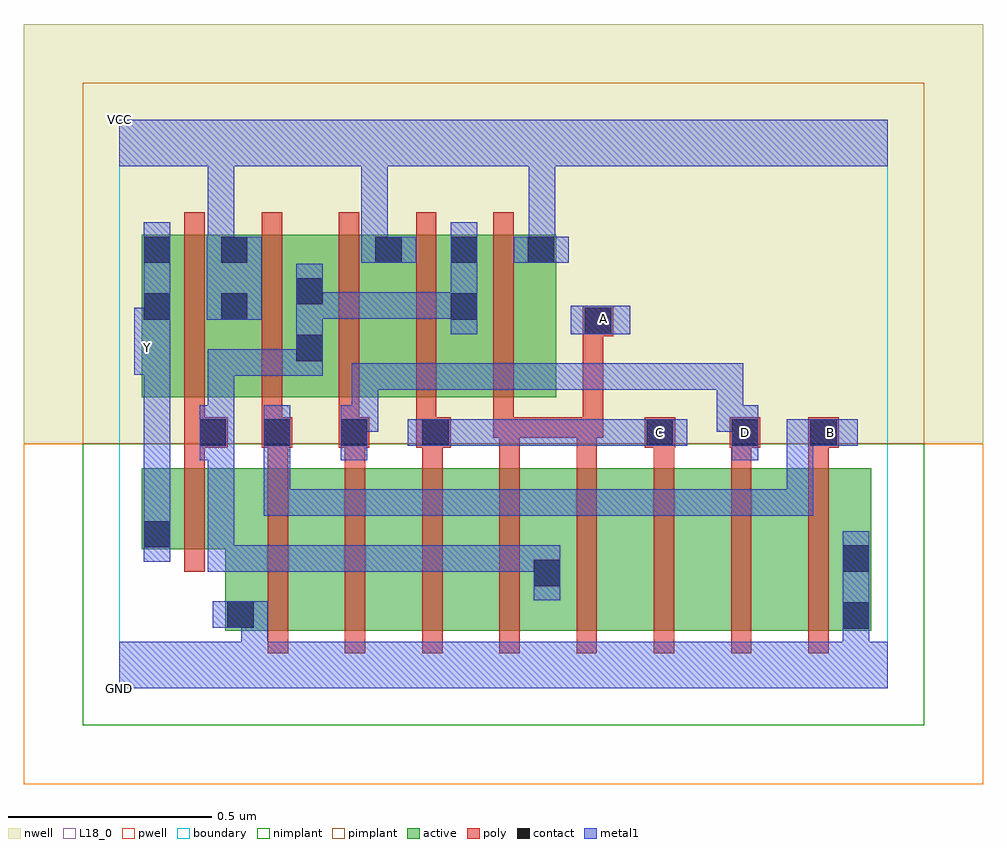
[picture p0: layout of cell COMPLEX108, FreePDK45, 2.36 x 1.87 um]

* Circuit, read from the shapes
.subckt COMPLEX108 A B C D GND VCC Y
M1 GND n1 Y VSUBS nfet w=0.2u l=0.05u
M2 n2 B GND VSUBS nfet w=0.4u l=0.05u
M3 n3 D n2 VSUBS nfet w=0.4u l=0.05u
M4 n4 C n3 VSUBS nfet w=0.4u l=0.05u
M5 n1 A n4 VSUBS nfet w=0.4u l=0.05u
M6 n5 A n1 VSUBS nfet w=0.4u l=0.05u
M7 n6 C n5 VSUBS nfet w=0.4u l=0.05u
M8 n7 D n6 VSUBS nfet w=0.4u l=0.05u
M9 GND B n7 VSUBS nfet w=0.4u l=0.05u
M10 VCC n1 Y n8 pfet w=0.4u l=0.05u
M11 n1 B VCC n8 pfet w=0.4u l=0.05u
M12 VCC D n1 n8 pfet w=0.4u l=0.05u
M13 n1 C VCC n8 pfet w=0.4u l=0.05u
M14 VCC A n1 n8 pfet w=0.4u l=0.05u
.ends

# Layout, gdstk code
import gdstk
lib = gdstk.Library(unit=1e-6, precision=1e-09)
def R(c, l, rs):  # rectangles x0, y0, x1, y1
    for r in rs: c.add(gdstk.rectangle(r[:2], r[2:], *l))
def A(c, l, x, y, w, h, nx, ny, dx, dy):  # array of equal rectangles
    R(c, l, [(x+i*dx, y+j*dy, x+i*dx+w, y+j*dy+h) for i in range(nx) for j in range(ny)])
active = (1, 0)
pwell = (2, 0)
nwell = (3, 0)
nimplant = (4, 0)
pimplant = (5, 0)
poly = (9, 0)
contact = (10, 0)
metal1 = (11, 0)
L18_0 = (18, 0)
boundary = (235, 0)

complex108 = lib.new_cell('COMPLEX108')
R(complex108, active, [(0.26,0.142,0.485,0.542), (0.26,0.142,0.335,0.342), (0.485,0.142,0.675,0.542), (0.675,0.142,0.865,0.542), (0.865,0.142,1.09,0.542), (1.015,0.142,1.245,0.542), (1.245,0.142,1.435,0.542), (1.435,0.142,1.625,0.542), (1.625,0.142,1.85,0.542), (1.775,0.142,1.85,0.542), (1.015,0.147,1.09,0.492), (0.055,0.342,0.13,0.542), (0.055,0.342,0.335,0.542), (0.055,0.717,0.13,1.117), (0.055,0.717,0.32,1.117), (0.245,0.717,0.505,1.117), (0.43,0.717,0.7,1.117), (0.43,0.717,0.505,1.067), (0.625,0.717,0.885,1.117), (0.81,0.717,1.075,1.117), (1,0.72,1.075,1.117), (0.245,0.802,0.32,1.117), (0.81,0.802,0.885,1.117), (0.625,0.907,0.7,1.117)])
R(complex108, pwell, [(-0.235,-0.235,2.125,0.602)])
R(complex108, nwell, [(-0.235,0.602,2.125,1.635)])
R(complex108, nimplant, [(-0.09,-0.09,1.98,0.602)])
R(complex108, pimplant, [(-0.09,0.602,1.98,1.49)])
A(complex108, poly, 0.365, 0.087, 0.05, 0.51, 8, 1, 0.19, 0)
A(complex108, poly, 0.365, 0.547, 0.05, 0.095, 3, 1, 0.19, 0)
A(complex108, poly, 1.315, 0.547, 0.05, 0.095, 3, 1, 0.19, 0)
A(complex108, poly, 0.16, 0.617, 0.05, 0.095, 5, 1, 0.19, 0)
A(complex108, poly, 0.16, 0.662, 0.05, 0.51, 5, 1, 0.19, 0)
R(complex108, poly, [(0.16,0.287,0.21,0.597), (0.16,0.547,0.21,0.642), (0.935,0.547,0.985,0.667), (1.125,0.547,1.175,0.667), (0.16,0.592,0.267,0.667), (0.35,0.592,0.425,0.667), (0.54,0.592,0.615,0.667), (0.73,0.592,0.815,0.667), (1.292,0.592,1.367,0.667), (1.502,0.592,1.577,0.667), (1.695,0.592,1.77,0.667), (0.92,0.617,0.985,0.667), (0.935,0.617,0.985,0.667), (0.935,0.617,0.985,0.667), (0.935,0.617,1.175,0.667), (1.125,0.617,1.19,0.667), (1.14,0.617,1.19,0.917), (1.14,0.867,1.215,0.942), (1.14,0.867,1.19,0.917), (1.14,0.867,1.19,0.917)])
R(complex108, contact, [(1.78,0.147,1.845,0.212), (0.265,0.15,0.33,0.215), (1.02,0.252,1.085,0.317), (1.78,0.287,1.845,0.352), (0.06,0.347,0.125,0.412), (0.197,0.597,0.262,0.662), (0.355,0.597,0.42,0.662), (0.545,0.597,0.61,0.662), (0.745,0.597,0.81,0.662), (1.297,0.597,1.362,0.662), (1.507,0.597,1.572,0.662), (1.7,0.597,1.765,0.662), (0.435,0.805,0.5,0.87), (1.145,0.872,1.21,0.937), (0.06,0.907,0.125,0.972), (0.25,0.907,0.315,0.972), (0.815,0.907,0.88,0.972), (0.435,0.945,0.5,1.01), (0.06,1.047,0.125,1.112), (0.25,1.047,0.315,1.112), (0.63,1.047,0.695,1.112), (0.815,1.047,0.88,1.112), (1.005,1.047,1.07,1.112)])
R(complex108, metal1, [(0,0,1.89,0.115), (0.3,0.05,0.365,0.215), (1.78,0.05,1.845,0.177), (1.78,0.112,1.845,0.387), (0.23,0.15,0.365,0.215), (1.02,0.217,1.085,0.352), (0.217,0.287,0.282,0.352), (0.217,0.287,0.282,0.352), (0.217,0.287,0.282,0.352), (0.217,0.287,0.472,0.352), (0.217,0.287,0.282,0.627), (0.407,0.287,0.472,0.352), (0.407,0.287,0.472,0.352), (0.407,0.287,0.472,0.352), (0.407,0.287,0.637,0.352), (0.572,0.287,0.637,0.352), (0.572,0.287,0.637,0.352), (0.572,0.287,0.637,0.352), (0.572,0.287,0.88,0.352), (0.815,0.287,0.88,0.352), (0.815,0.287,0.88,0.352), (0.815,0.287,0.88,0.352), (0.815,0.287,1.037,0.352), (0.972,0.287,1.037,0.352), (0.972,0.287,1.085,0.352), (0.06,0.312,0.125,0.447), (0.06,0.382,0.125,0.837), (0.355,0.425,0.42,0.49), (0.355,0.425,0.637,0.49), (0.355,0.425,0.42,0.627), (0.572,0.425,0.637,0.49), (0.572,0.425,0.637,0.49), (0.572,0.425,0.637,0.49), (0.572,0.425,0.775,0.49), (0.71,0.425,0.775,0.49), (0.71,0.425,0.775,0.49), (0.71,0.425,0.775,0.49), (0.71,0.425,1.017,0.49), (0.952,0.425,1.017,0.49), (0.952,0.425,1.017,0.49), (0.952,0.425,1.017,0.49), (0.952,0.425,1.19,0.49), (1.125,0.425,1.19,0.49), (1.125,0.425,1.19,0.49), (1.125,0.425,1.19,0.49), (1.125,0.425,1.397,0.49), (1.332,0.425,1.397,0.49), (1.332,0.425,1.535,0.49), (1.47,0.425,1.535,0.49), (1.47,0.425,1.535,0.49), (1.47,0.425,1.535,0.49), (1.47,0.425,1.707,0.49), (1.642,0.425,1.707,0.662), (1.642,0.425,1.707,0.49), (0.197,0.562,0.262,0.697), (0.197,0.562,0.282,0.627), (0.217,0.562,0.282,0.627), (0.217,0.562,0.282,0.835), (0.355,0.562,0.42,0.627), (0.355,0.562,0.42,0.627), (0.355,0.562,0.42,0.697), (0.545,0.562,0.61,0.697), (1.507,0.562,1.572,0.697), (0.71,0.597,0.845,0.662), (0.78,0.597,0.845,0.662), (0.78,0.597,0.845,0.662), (0.78,0.597,1.017,0.662), (0.952,0.597,1.017,0.662), (0.952,0.597,1.017,0.662), (0.952,0.597,1.017,0.662), (0.952,0.597,1.19,0.662), (1.125,0.597,1.19,0.662), (1.125,0.597,1.19,0.662), (1.125,0.597,1.19,0.662), (1.125,0.597,1.327,0.662), (1.262,0.597,1.397,0.662), (1.642,0.597,1.73,0.662), (1.642,0.597,1.707,0.662), (1.665,0.597,1.817,0.662), (0.545,0.632,0.637,0.697), (0.572,0.632,0.637,0.697), (0.572,0.632,0.637,0.8), (1.47,0.632,1.535,0.697), (1.47,0.632,1.572,0.697), (1.47,0.632,1.535,0.8), (0.572,0.735,0.637,0.8), (0.572,0.735,0.775,0.8), (0.71,0.735,0.775,0.8), (0.71,0.735,0.775,0.8), (0.71,0.735,0.775,0.8), (0.71,0.735,1.017,0.8), (0.952,0.735,1.017,0.8), (0.952,0.735,1.017,0.8), (0.952,0.735,1.017,0.8), (0.952,0.735,1.19,0.8), (1.125,0.735,1.19,0.8), (1.125,0.735,1.327,0.8), (1.262,0.735,1.327,0.8), (1.262,0.735,1.327,0.8), (1.262,0.735,1.327,0.8), (1.262,0.735,1.535,0.8), (1.47,0.735,1.535,0.8), (0.217,0.77,0.282,0.835), (0.217,0.77,0.472,0.835), (0.407,0.77,0.472,0.835), (0.407,0.77,0.5,0.835), (0.435,0.77,0.5,1.045), (0.037,0.772,0.125,0.937), (0.06,0.872,0.125,1.147), (0.06,0.872,0.125,0.937), (0.815,0.872,0.88,1.147), (1.11,0.872,1.257,0.942), (0.215,0.907,0.35,1.112), (0.435,0.91,0.5,0.975), (0.435,0.91,0.5,1.045), (0.435,0.91,0.637,0.975), (0.572,0.91,0.637,0.975), (0.572,0.91,0.637,0.975), (0.572,0.91,0.637,0.975), (0.572,0.91,0.88,0.975), (0.815,0.91,0.88,0.975), (0.815,0.91,0.88,0.975), (0.217,1.047,0.282,1.35), (0.595,1.047,0.73,1.112), (0.595,1.047,0.66,1.35), (0.97,1.047,1.105,1.112), (1.007,1.047,1.072,1.35), (0,1.285,1.89,1.4), (0.217,1.285,0.282,1.35), (0.217,1.285,0.282,1.35), (0.595,1.285,0.66,1.35), (0.595,1.285,0.66,1.35), (1.007,1.285,1.072,1.35), (1.007,1.285,1.072,1.35)])
R(complex108, L18_0, [(0,0,1.89,0.115), (0.3,0.05,0.365,0.215), (1.78,0.05,1.845,0.177), (1.78,0.112,1.845,0.387), (0.23,0.15,0.365,0.215), (0.06,0.312,0.125,0.447), (0.06,0.382,0.125,0.837), (0.355,0.425,0.42,0.49), (0.355,0.425,0.42,0.627), (0.355,0.425,0.637,0.49), (0.572,0.425,0.637,0.49), (0.572,0.425,0.637,0.49), (0.572,0.425,0.637,0.49), (0.572,0.425,0.775,0.49), (0.71,0.425,0.775,0.49), (0.71,0.425,0.775,0.49), (0.71,0.425,0.775,0.49), (0.71,0.425,1.017,0.49), (0.952,0.425,1.017,0.49), (0.952,0.425,1.017,0.49), (0.952,0.425,1.017,0.49), (0.952,0.425,1.19,0.49), (1.125,0.425,1.19,0.49), (1.125,0.425,1.19,0.49), (1.125,0.425,1.19,0.49), (1.125,0.425,1.397,0.49), (1.332,0.425,1.397,0.49), (1.332,0.425,1.535,0.49), (1.47,0.425,1.535,0.49), (1.47,0.425,1.535,0.49), (1.47,0.425,1.535,0.49), (1.47,0.425,1.707,0.49), (1.642,0.425,1.707,0.49), (1.642,0.425,1.707,0.662), (0.355,0.562,0.42,0.697), (0.355,0.562,0.42,0.627), (0.355,0.562,0.42,0.627), (0.545,0.562,0.61,0.697), (1.507,0.562,1.572,0.697), (0.71,0.597,0.845,0.662), (0.78,0.597,0.845,0.662), (0.78,0.597,0.845,0.662), (0.78,0.597,1.017,0.662), (0.952,0.597,1.017,0.662), (0.952,0.597,1.017,0.662), (0.952,0.597,1.017,0.662), (0.952,0.597,1.19,0.662), (1.125,0.597,1.19,0.662), (1.125,0.597,1.19,0.662), (1.125,0.597,1.19,0.662), (1.125,0.597,1.327,0.662), (1.262,0.597,1.397,0.662), (1.297,0.597,1.362,0.662), (1.507,0.597,1.572,0.662), (1.642,0.597,1.707,0.662), (1.642,0.597,1.73,0.662), (1.665,0.597,1.817,0.662), (1.717,0.597,1.782,0.662), (0.545,0.632,0.637,0.697), (0.572,0.632,0.637,0.697), (0.572,0.632,0.637,0.8), (1.47,0.632,1.535,0.697), (1.47,0.632,1.535,0.8), (1.47,0.632,1.572,0.697), (0.572,0.735,0.637,0.8), (0.572,0.735,0.775,0.8), (0.71,0.735,0.775,0.8), (0.71,0.735,0.775,0.8), (0.71,0.735,0.775,0.8), (0.71,0.735,1.017,0.8), (0.952,0.735,1.017,0.8), (0.952,0.735,1.017,0.8), (0.952,0.735,1.017,0.8), (0.952,0.735,1.19,0.8), (1.125,0.735,1.19,0.8), (1.125,0.735,1.327,0.8), (1.262,0.735,1.327,0.8), (1.262,0.735,1.327,0.8), (1.262,0.735,1.327,0.8), (1.262,0.735,1.535,0.8), (1.47,0.735,1.535,0.8), (0.037,0.772,0.125,0.937), (0.037,0.807,0.102,0.872), (0.06,0.872,0.125,1.147), (0.06,0.872,0.125,0.937), (1.11,0.872,1.257,0.942), (1.157,0.877,1.222,0.942), (0.215,0.907,0.35,1.112), (0.217,1.047,0.282,1.35), (0.595,1.047,0.73,1.112), (0.595,1.047,0.66,1.35), (0.97,1.047,1.105,1.112), (1.007,1.047,1.072,1.35), (0,1.285,1.89,1.4), (0.217,1.285,0.282,1.35), (0.217,1.285,0.282,1.35), (0.595,1.285,0.66,1.35), (0.595,1.285,0.66,1.35), (1.007,1.285,1.072,1.35), (1.007,1.285,1.072,1.35)])
R(complex108, boundary, [(0,0,1.89,1.4)])
complex108.add(gdstk.Label('A', (1.19,0.91), layer=11, texttype=0))
complex108.add(gdstk.Label('B', (1.75,0.63), layer=11, texttype=0))
complex108.add(gdstk.Label('C', (1.33,0.63), layer=11, texttype=0))
complex108.add(gdstk.Label('D', (1.54,0.63), layer=11, texttype=0))
complex108.add(gdstk.Label('Y', (0.07,0.84), layer=11, texttype=0))
complex108.add(gdstk.Label('VCC', (0,1.4), layer=11, texttype=0))
complex108.add(gdstk.Label('GND', (0,0), layer=11, texttype=0))

lib.write_gds('COMPLEX108.gds')
